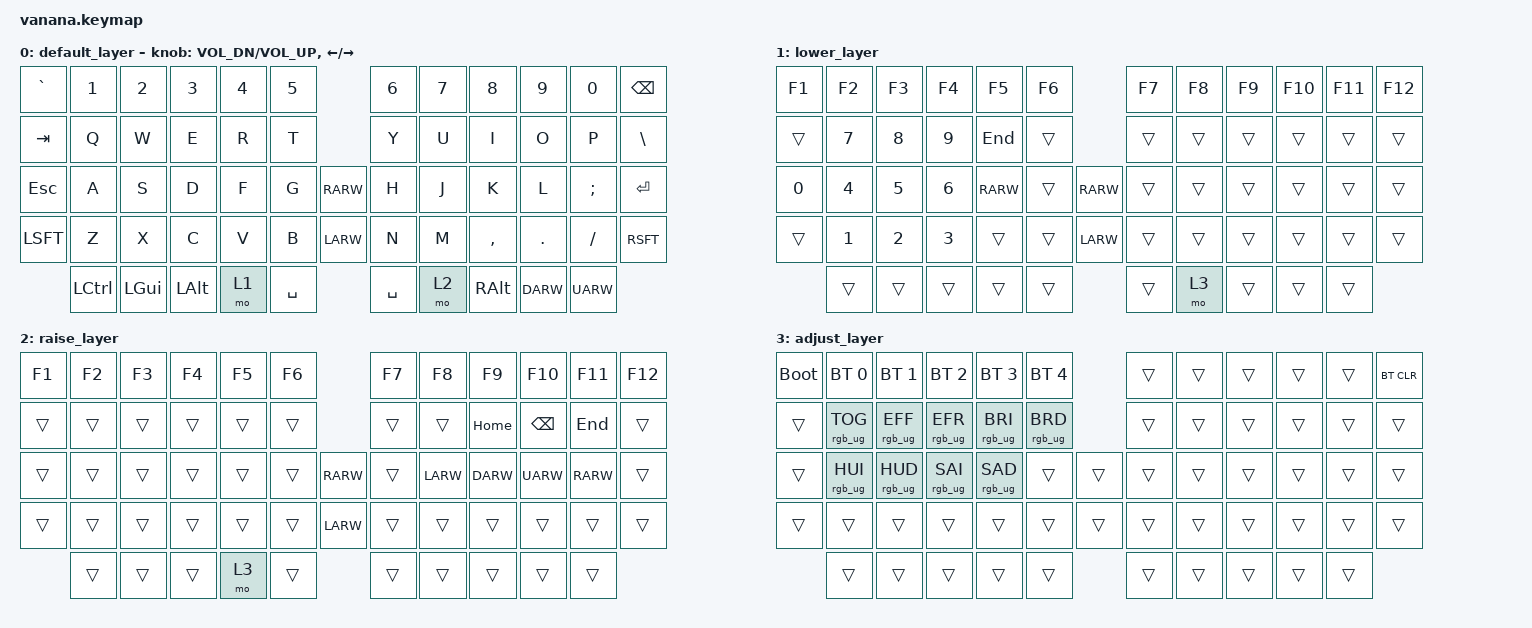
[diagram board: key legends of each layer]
/*
 * Copyright (c) 2020 dELLIKEEb
 *
 * SPDX-License-Identifier: MIT
 */

#include <behaviors.dtsi>
#include <dt-bindings/zmk/keys.h>
#include <dt-bindings/zmk/bt.h>
#include <dt-bindings/zmk/rgb.h>

// custom keycode defs for easier access
#define DEFAULT 0
#define LOWER   1
#define RAISE   2
#define ADJUST  3
#define BT0  BT_SEL 0
#define BT1  BT_SEL 1
#define BT2  BT_SEL 2
#define BT3  BT_SEL 3
#define BT4  BT_SEL 4
// / {
//     behaviors {
//         hm: homerow_mods {
//             compatible = "zmk,behavior-hold-tap";
//             label = "homerow mods";
//             #binding-cells = <2>;
//             tapping_term_ms = <225>;
//             flavor = "tap-preferred";
//             bindings = <&kp>, <&kp>;
//         };
//     };
// };

// BASE
// -------------------------------------------               -------------------------------------------
// |   `  |   1  |   2  |   3  |   4  |   5  |               |   6  |   7  |   8  |   9  |   0  | Bksp |
// -------------------------------------------               -------------------------------------------
// | Tab  |   Q  |   W  |   E  |   R  |   T  |               |   Y  |   U  |   I  |   O  |   P  | Del  |
// -------------------------------------------   ---------  --------------------------------------------
// | Esc  |   A  |   S  |   D  |   F  |   G  |   | Right |   |   H  |   J  |   K  |   L  |   ;  |Enter |
// -------------------------------------------   ---------   -------------------------------------------
// | Shift|   Z  |   X  |   C  |   V  |   B  |   | LEFT  |   |   N  |   M  |   ,  |   .  |   /  | "    |
// -------------------------------------------   ---------   -------------------------------------------
//        | Ctrl | GUI  |  Alt |Lower |Space |               |Space |Raise |Alt   | DOWN | UP   |
//        ------------------------------------               ------------------------------------
// 

/ {
    keymap {
        compatible = "zmk,keymap";

        default_layer {
            bindings = <
                &kp GRAV    &kp N1      &kp N2      &kp N3      &kp N4    &kp N5                        &kp N6      &kp N7      &kp N8      &kp N9      &kp N0      &kp BKSP
                &kp TAB     &kp Q       &kp W       &kp E       &kp R     &kp T                         &kp Y       &kp U       &kp I       &kp O       &kp P       &kp BSLH
                &kp ESC     &kp A       &kp S       &kp D       &kp F     &kp G         &kp RARW        &kp H       &kp J       &kp K       &kp L       &kp SCLN    &kp RET
                &kp LSFT    &kp Z       &kp X       &kp C       &kp V     &kp B         &kp LARW        &kp N       &kp M       &kp CMMA    &kp DOT     &kp FSLH    &kp RSFT
                            &kp LCTL    &kp LGUI    &kp LALT    &mo 1     &kp SPC                       &kp SPC     &mo 2       &kp RALT    &kp DARW    &kp UARW
            >;
            sensor-bindings = <&inc_dec_kp C_VOL_DN C_VOL_UP &inc_dec_kp LEFT RIGHT>;
        };

        lower_layer {
            bindings = <
                &kp F1      &kp F2      &kp F3      &kp F4      &kp F5      &kp F6                      &kp F7      &kp F8      &kp F9      &kp F10     &kp F11     &kp F12  
                &trans      &kp NUM_7   &kp NUM_8   &kp NUM_9   &kp END     &trans                      &trans      &trans      &trans      &trans      &trans      &trans  
                &kp NUM_0   &kp NUM_4   &kp NUM_5   &kp NUM_6   &kp RARW    &trans      &kp RARW        &trans      &trans      &trans      &trans      &trans      &trans  
                &trans      &kp NUM_1   &kp NUM_2   &kp NUM_3   &trans      &trans      &kp LARW        &trans      &trans      &trans      &trans      &trans      &trans  
                            &trans      &trans      &trans      &trans      &trans                      &trans      &mo 3       &trans      &trans      &trans
            >;
        };

        raise_layer {
            bindings = <
                &kp F1      &kp F2      &kp F3      &kp F4      &kp F5      &kp F6                      &kp F7      &kp F8      &kp F9      &kp F10     &kp F11     &kp F12  
                &trans      &trans      &trans      &trans      &trans      &trans                      &trans      &trans      &kp HOME    &kp BKSP    &kp END     &trans  
                &trans      &trans      &trans      &trans      &trans      &trans      &kp RARW        &trans      &kp LARW    &kp DARW    &kp UARW    &kp RARW    &trans  
                &trans      &trans      &trans      &trans      &trans      &trans      &kp LARW        &trans      &trans      &trans      &trans      &trans      &trans  
                            &trans      &trans      &trans      &mo 3       &trans                      &trans      &trans      &trans      &trans      &trans
            >;
            
        };
        
        adjust_layer {
            bindings = <
                &bootloader &bt BT_SEL 0    &bt BT_SEL 1    &bt BT_SEL 2    &bt BT_SEL 3    &bt BT_SEL 4                        &trans      &trans      &trans      &trans      &trans      &bt BT_CLR        
                &trans      &rgb_ug RGB_TOG &rgb_ug RGB_EFF &rgb_ug RGB_EFR &rgb_ug RGB_BRI &rgb_ug RGB_BRD                     &trans      &trans      &trans      &trans      &trans      &trans
                &trans      &rgb_ug RGB_HUI &rgb_ug RGB_HUD &rgb_ug RGB_SAI &rgb_ug RGB_SAD &trans              &trans          &trans      &trans      &trans      &trans      &trans      &trans  
                &trans      &trans          &trans          &trans          &trans          &trans              &trans          &trans      &trans      &trans      &trans      &trans      &trans  
                            &trans          &trans          &trans          &trans          &trans                              &trans      &trans      &trans      &trans      &trans
            >;
        };

    };
};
